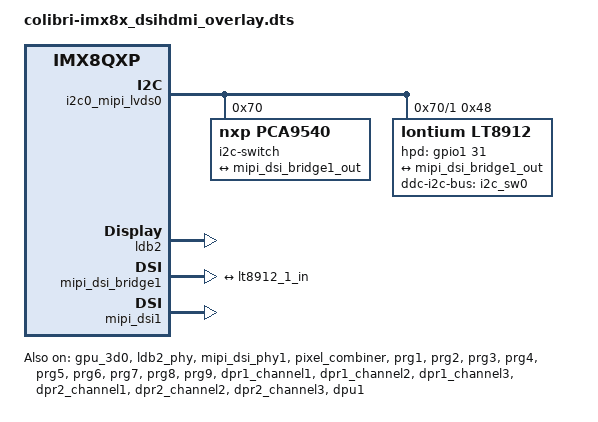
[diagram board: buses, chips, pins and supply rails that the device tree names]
// Enable the dsi to hdmi adapter orderable at Toradex for Colibri iMX8X

#include "dt-bindings/gpio/gpio.h"
#include "dt-bindings/pinctrl/pads-imx8qxp.h"

/dts-v1/;
/plugin/;
/ {
	compatible = "toradex,colibri-imx8qxp";
};

&gpu_3d0 {
	status = "okay";
};

&i2c0_mipi_lvds0 {
	status = "okay";

	#address-cells = <1>;
	#size-cells = <0>;

	/* DSI to HDMI Adapter V1.1A */
	i2c-switch@70 {
		compatible = "nxp,pca9540";
		#address-cells = <1>;
		#size-cells = <0>;
		reg = <0x70>;
		i2c-mux-idle-disconnect;

		i2c_sw0: i2c-sw@0 {
			#address-cells = <1>;
			#size-cells = <0>;
			reg = <0>;

			/* DDC/EDID */
		};

		i2c-sw@1 {
			#address-cells = <1>;
			#size-cells = <0>;
			reg = <1>;

			lt8912@48 {
				compatible = "lontium,lt8912";
				ddc-i2c-bus = <&i2c_sw0>;
				hpd-gpios = <&gpio1 31 GPIO_ACTIVE_HIGH>;
				pinctrl-names = "default";
				pinctrl-0 = <&pinctrl_gpio_hpd>;
				reg = <0x48>;

				port {
					lt8912_1_in: endpoint {
						remote-endpoint = <&mipi_dsi_bridge1_out>;
					};
				};
			};
		};
	};
};

&iomuxc {
	colibri-imx8qxp {
		/* DSI/LVDS Hot Plug Detect on FFC (X2) */
		pinctrl_gpio_hpd: gpio-hpd {
			fsl,pins = <
				SC_P_MIPI_DSI1_GPIO0_00_LSIO_GPIO1_IO31		0x20		/* SODIMM 138 */
			>;
		};
	};
};

&ldb1 {
	status = "disabled";
};

&ldb1_phy {
	status = "disabled";
};

&ldb2 {
	status = "okay";
};

&ldb2_phy {
	status = "okay";
};

&mipi_dsi_bridge1 {
	status = "okay";

	#address-cells = <1>;
	#size-cells = <0>;

	port@1 {
		reg = <1>;
		mipi_dsi_bridge1_out: endpoint {
			remote-endpoint = <&lt8912_1_in>;
		};
	};
};

&mipi_dsi_phy1 {
	status = "okay";
};

&mipi_dsi1 {
	status = "okay";
};

&pixel_combiner {
	status = "okay";
};

&prg1 {
	status = "okay";
};

&prg2 {
	status = "okay";
};

&prg3 {
	status = "okay";
};

&prg4 {
	status = "okay";
};

&prg5 {
	status = "okay";
};

&prg6 {
	status = "okay";
};

&prg7 {
	status = "okay";
};

&prg8 {
	status = "okay";
};

&prg9 {
	status = "okay";
};

&dpr1_channel1 {
	status = "okay";
};

&dpr1_channel2 {
	status = "okay";
};

&dpr1_channel3 {
	status = "okay";
};

&dpr2_channel1 {
	status = "okay";
};

&dpr2_channel2 {
	status = "okay";
};

&dpr2_channel3 {
	status = "okay";
};

&dpu1 {
	status = "okay";
};

